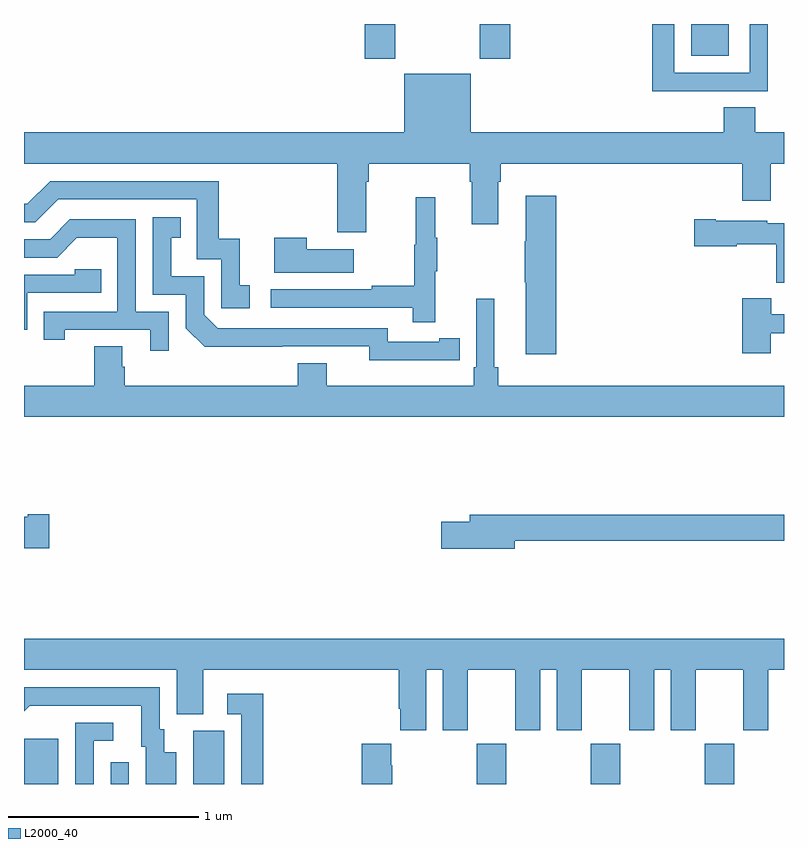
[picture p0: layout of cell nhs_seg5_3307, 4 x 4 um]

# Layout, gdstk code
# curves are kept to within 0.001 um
import gdstk
lib = gdstk.Library(unit=1e-6, precision=1e-09)
def R(c, l, rs):  # rectangles x0, y0, x1, y1
    for r in rs: c.add(gdstk.rectangle(r[:2], r[2:], *l))
def A(c, l, x, y, w, h, nx, ny, dx, dy):  # array of equal rectangles
    R(c, l, [(x+i*dx, y+j*dy, x+i*dx+w, y+j*dy+h) for i in range(nx) for j in range(ny)])
def P(c, l, *ps):  # polygons
    for p in ps: c.add(gdstk.Polygon(p, *l))
L2000_40 = (2000, 40)

nhs_seg5_3307 = lib.new_cell('nhs_seg5_3307')
A(nhs_seg5_3307, L2000_40, 305.383, 882.799, 0.155, 0.213, 3, 1, 0.6, 0)
R(nhs_seg5_3307, L2000_40, [(303,882.799,303.181,883.036), (303.456,882.799,303.552,882.913), (303.89,882.799,304.054,883.08), (304.793,886.617,304.953,886.799), (305.398,886.617,305.558,886.799), (306.512,886.631,306.709,886.799)])
P(nhs_seg5_3307, L2000_40, [(306.599,886.446),(306.915,886.446),(306.915,886.799),(306.819,886.799),(306.819,886.542),(306.423,886.542),(306.423,886.799),(306.307,886.799),(306.307,886.445),(306.599,886.445)],
  [(304.801,885.968),(304.814,885.968),(304.814,886.064),(305.345,886.064),(305.345,885.968),(305.357,885.968),(305.357,885.744),(305.497,885.744),(305.497,885.968),(305.51,885.968),(305.51,886.064),(306.779,886.064),(306.779,885.87),(306.931,885.87),(306.931,886.064),(307,886.064),(307,886.228),(306.848,886.228),(306.848,886.361),(306.683,886.361),(306.683,886.228),(305.35,886.228),(305.35,886.537),(305,886.537),(305,886.228),(303,886.228),(303,886.064),(304.649,886.064),(304.649,885.702),(304.801,885.702)],
  [(304.189,885.423),(304.136,885.423),(304.136,885.67),(304.025,885.67),(304.025,885.972),(303.138,885.972),(303.018,885.852),(303,885.852),(303,885.756),(303.06,885.756),(303.18,885.876),(303.909,885.876),(303.909,885.561),(304.038,885.561),(304.038,885.303),(304.189,885.303)],
  [(305.801,885.895),(305.642,885.895),(305.642,885.656),(305.635,885.656),(305.635,885.439),(305.642,885.439),(305.642,885.06),(305.801,885.06)],
  [(305.165,885.499),(305.176,885.499),(305.176,885.673),(305.165,885.673),(305.165,885.886),(305.062,885.886),(305.062,885.636),(305.055,885.636),(305.055,885.422),(304.831,885.422),(304.831,885.402),(304.299,885.402),(304.299,885.306),(305.047,885.306),(305.047,885.228),(305.165,885.228)],
  [(305.186,885.03),(305.294,885.03),(305.294,885.146),(305.186,885.146),(305.186,885.126),(304.914,885.126),(304.914,885.198),(304.02,885.198),(303.948,885.27),(303.948,885.471),(303.775,885.471),(303.775,885.675),(303.824,885.675),(303.824,885.781),(303.678,885.781),(303.678,885.375),(303.852,885.375),(303.852,885.198),(303.95,885.101),(304.818,885.102),(304.818,885.029)],
  [(303.762,885.285),(303.588,885.285),(303.588,885.771),(303.242,885.771),(303.137,885.666),(303,885.666),(303,885.57),(303.174,885.57),(303.278,885.674),(303.492,885.674),(303.492,885.285),(303.103,885.285),(303.103,885.138),(303.214,885.138),(303.214,885.189),(303.665,885.189),(303.665,885.078),(303.762,885.078)],
  [(307,885.751),(306.912,885.751),(306.912,885.763),(306.64,885.763),(306.64,885.771),(306.528,885.771),(306.528,885.629),(306.75,885.629),(306.75,885.641),(306.958,885.641),(306.958,885.437),(307,885.437)],
  [(304.735,885.613),(304.487,885.613),(304.487,885.673),(304.316,885.673),(304.316,885.491),(304.735,885.491)],
  [(303.018,885.384),(303.407,885.384),(303.407,885.507),(303.267,885.507),(303.267,885.48),(303,885.48),(303,885.189),(303.018,885.189)],
  [(306.931,885.171),(307,885.171),(307,885.271),(306.934,885.271),(306.934,885.355),(306.779,885.355),(306.779,885.066),(306.931,885.066)],
  [(307,884.896),(305.495,884.896),(305.495,884.992),(305.476,884.992),(305.476,885.352),(305.379,885.352),(305.379,884.992),(305.366,884.992),(305.366,884.896),(304.594,884.896),(304.594,885.013),(304.442,885.013),(304.442,884.896),(303.53,884.896),(303.53,884.994),(303.517,884.994),(303.517,885.104),(303.37,885.104),(303.37,884.896),(303,884.896),(303,884.732),(307,884.732)],
  [(303.133,884.219),(303.02,884.219),(303.02,884.206),(303,884.206),(303,884.041),(303.133,884.041)],
  [(305.584,884.08),(307,884.08),(307,884.216),(305.345,884.216),(305.345,884.18),(305.196,884.18),(305.196,884.038),(305.584,884.038)],
  [(305.116,883.4),(305.204,883.4),(305.204,883.083),(305.335,883.083),(305.335,883.4),(305.585,883.4),(305.585,883.083),(305.716,883.083),(305.716,883.4),(305.804,883.4),(305.804,883.083),(305.935,883.083),(305.935,883.4),(306.185,883.4),(306.185,883.083),(306.316,883.083),(306.316,883.4),(306.404,883.4),(306.404,883.083),(306.535,883.083),(306.535,883.4),(306.785,883.4),(306.785,883.083),(306.916,883.083),(306.916,883.4),(307,883.4),(307,883.564),(303,883.564),(303,883.4),(303.803,883.4),(303.803,883.165),(303.943,883.165),(303.943,883.4),(304.973,883.4),(304.973,883.195),(304.979,883.195),(304.979,883.083),(305.116,883.083)],
  [(303.802,882.967),(303.739,882.967),(303.739,883.086),(303.714,883.086),(303.714,883.308),(303,883.308),(303,883.182),(303.03,883.212),(303.617,883.212),(303.617,882.996),(303.641,882.996),(303.641,882.799),(303.802,882.799)],
  [(304.259,883.273),(304.071,883.273),(304.071,883.167),(304.143,883.167),(304.143,882.799),(304.259,882.799)],
  [(303.366,883.026),(303.469,883.026),(303.469,883.122),(303.27,883.122),(303.27,882.799),(303.366,882.799)],
  [(304.938,882.899),(304.933,882.899),(304.933,883.012),(304.778,883.012),(304.778,882.799),(304.938,882.799)])

lib.write_gds('nhs_seg5_3307.gds')
